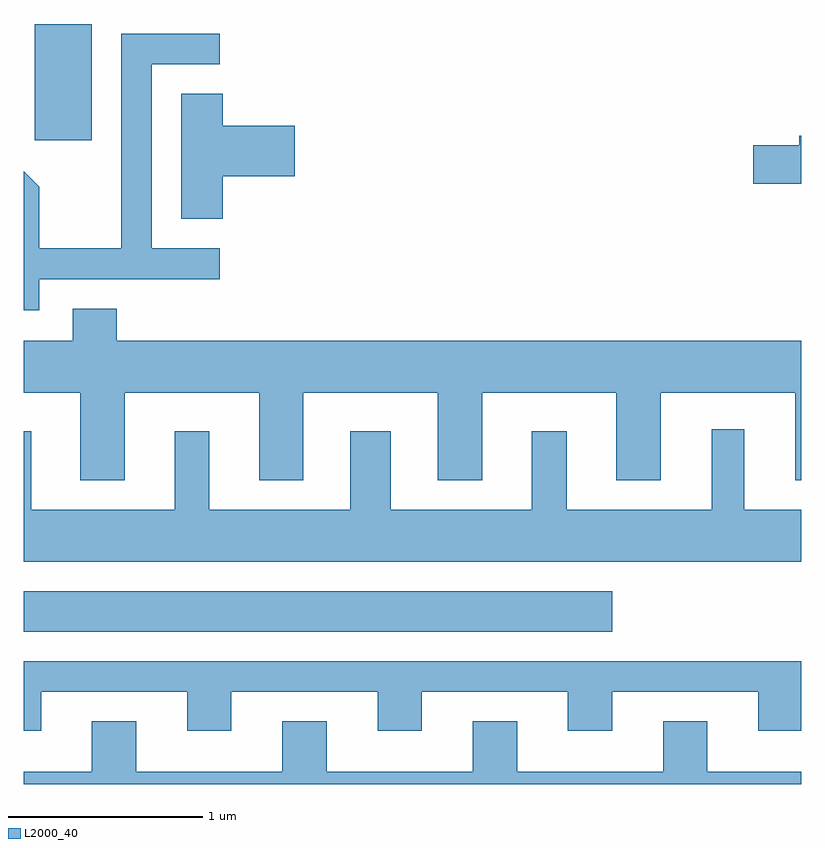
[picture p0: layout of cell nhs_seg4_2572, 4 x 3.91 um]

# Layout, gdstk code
import gdstk
lib = gdstk.Library(unit=1e-6, precision=1e-09)
def R(c, l, rs):  # rectangles x0, y0, x1, y1
    for r in rs: c.add(gdstk.rectangle(r[:2], r[2:], *l))
def P(c, l, *ps):  # polygons
    for p in ps: c.add(gdstk.Polygon(p, *l))
L2000_40 = (2000, 40)

nhs_seg4_2572 = lib.new_cell('nhs_seg4_2572')
R(nhs_seg4_2572, L2000_40, [(259.611,1366.766,262.639,1366.974), (259.666,1369.296,259.959,1369.894)])
P(nhs_seg4_2572, L2000_40, [(259.689,1368.581),(260.618,1368.581),(260.618,1368.739),(260.269,1368.739),(260.269,1369.686),(260.618,1369.686),(260.618,1369.844),(260.111,1369.844),(260.111,1368.739),(259.689,1368.739),(259.689,1369.057),(259.611,1369.135),(259.611,1368.421),(259.689,1368.421)],
  [(260.634,1369.111),(261.004,1369.111),(261.004,1369.369),(260.634,1369.369),(260.634,1369.534),(260.421,1369.534),(260.421,1368.891),(260.634,1368.891)],
  [(263.611,1369.319),(263.601,1369.319),(263.601,1369.269),(263.366,1369.269),(263.366,1369.071),(263.611,1369.071)],
  [(260.129,1367.996),(260.821,1367.996),(260.821,1367.546),(261.049,1367.546),(261.049,1367.996),(261.741,1367.996),(261.741,1367.546),(261.969,1367.546),(261.969,1367.996),(262.661,1367.996),(262.661,1367.546),(262.889,1367.546),(262.889,1367.996),(263.581,1367.996),(263.581,1367.546),(263.611,1367.546),(263.611,1368.264),(260.089,1368.264),(260.089,1368.429),(259.861,1368.429),(259.861,1368.264),(259.611,1368.264),(259.611,1367.996),(259.901,1367.996),(259.901,1367.546),(260.129,1367.546)],
  [(263.611,1367.394),(263.319,1367.394),(263.319,1367.808),(263.151,1367.808),(263.151,1367.394),(262.404,1367.394),(262.404,1367.799),(262.226,1367.799),(262.226,1367.394),(261.499,1367.394),(261.499,1367.799),(261.291,1367.799),(261.291,1367.394),(260.564,1367.394),(260.564,1367.799),(260.386,1367.799),(260.386,1367.394),(259.649,1367.394),(259.649,1367.799),(259.611,1367.799),(259.611,1367.126),(263.611,1367.126)],
  [(259.699,1366.456),(260.451,1366.456),(260.451,1366.256),(260.679,1366.256),(260.679,1366.456),(261.431,1366.456),(261.431,1366.256),(261.659,1366.256),(261.659,1366.456),(262.411,1366.456),(262.411,1366.256),(262.639,1366.256),(262.639,1366.456),(263.391,1366.456),(263.391,1366.256),(263.611,1366.256),(263.611,1366.614),(259.611,1366.614),(259.611,1366.256),(259.699,1366.256)],
  [(263.611,1366.044),(263.129,1366.044),(263.129,1366.304),(262.901,1366.304),(262.901,1366.044),(262.149,1366.044),(262.149,1366.304),(261.921,1366.304),(261.921,1366.044),(261.169,1366.044),(261.169,1366.304),(260.941,1366.304),(260.941,1366.044),(260.189,1366.044),(260.189,1366.304),(259.961,1366.304),(259.961,1366.044),(259.611,1366.044),(259.611,1365.982),(263.611,1365.982)])

lib.write_gds('nhs_seg4_2572.gds')
